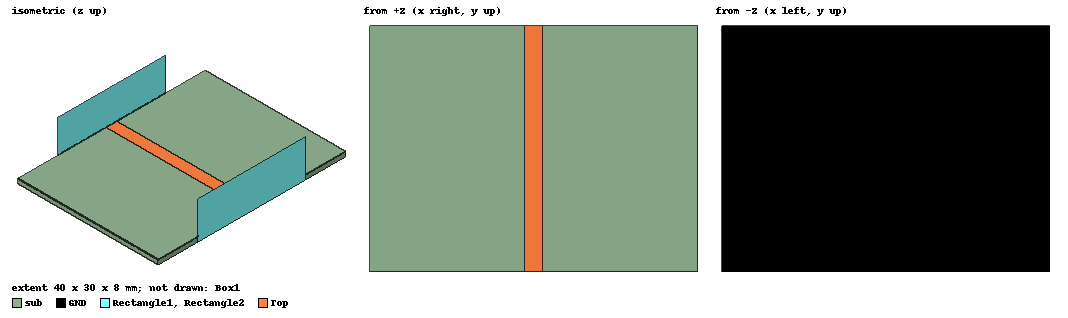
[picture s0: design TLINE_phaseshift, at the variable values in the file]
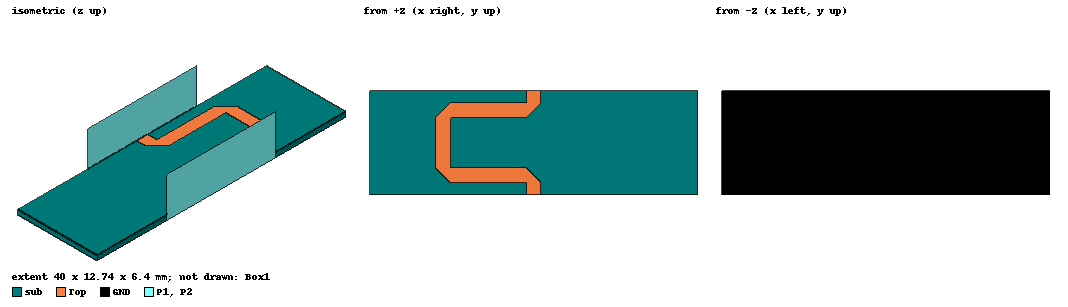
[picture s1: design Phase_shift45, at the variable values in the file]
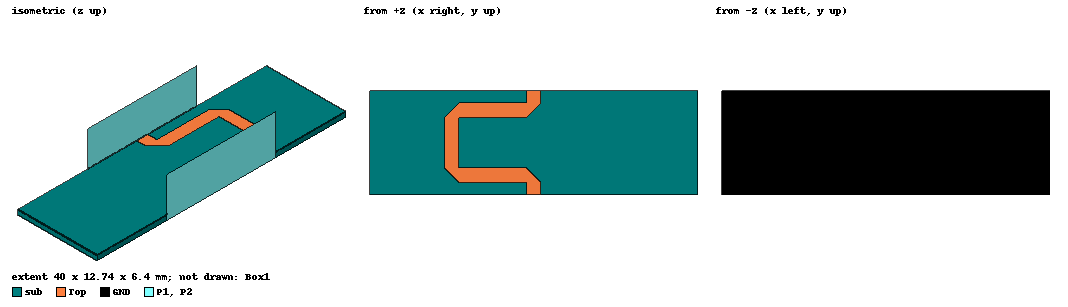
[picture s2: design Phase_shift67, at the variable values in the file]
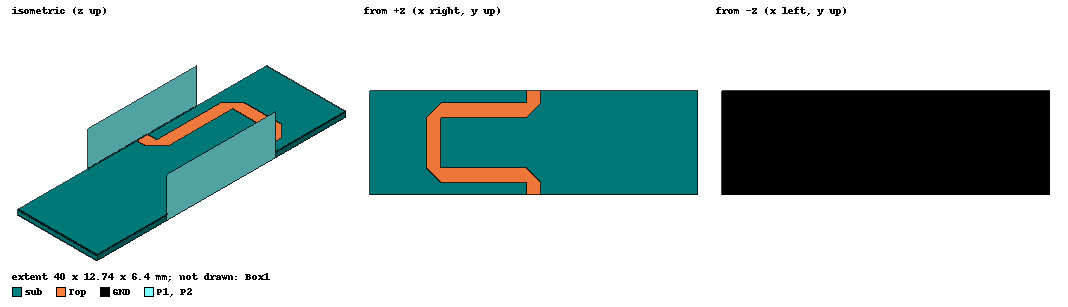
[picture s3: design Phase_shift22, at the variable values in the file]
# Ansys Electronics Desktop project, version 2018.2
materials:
  copper: permeability=0.999991 conductivity=58000000
  FR4_epoxy: permittivity=4.4 dielectric_loss_tangent=0.02
  Rogers RO4003 (tm): permittivity=3.55 dielectric_loss_tangent=0.0027
  vacuum: permittivity=1

design TLINE_phaseshift (HFSS, DrivenTerminal, model units mm)
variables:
  W = 40mm
  L = L_50
  H = 1mm
  W_50 = 2.3mm
  L_50 = 30mm
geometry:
  sub [Rogers RO4003 (tm)] = box(corner=(0mm, 0mm, 0mm), size=(W, L, H))
  GND [FR4_epoxy] = object_from(sub.face(-z))
  Top [copper] = rectangle(corner=(W/2-W_50/2, 0mm, H), x_size=W_50, y_size=L_50)
  Rectangle1 = rectangle(corner=(W/2-5*W_50, 0mm, 0mm), z_size=8*H, x_size=10*W_50)
  Rectangle2 = rectangle(corner=(W/2-5*W_50, L, 0mm), z_size=8*H, x_size=10*W_50)
  Box1 [vacuum] = box(corner=(-10mm, 0mm, -10mm), size=(20mm+W, L, 50mm))
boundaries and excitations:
  PerfE1: Perfect E Objects=GND
  Rad1: Radiation Objects=Box1
  PerfE2: Perfect E Objects=Top
  Top_T1: Terminal port=1 Edges=Top.edge(y at corner) TerminalResistance=50ohm
  Top_T2: Terminal port=2 Edges=Top.edge(y opposite corner) TerminalResistance=50ohm
  1: Wave Port Faces=Rectangle1.face NumModes=1
  2: Wave Port Faces=Rectangle2.face NumModes=1
  reference conductors: GND
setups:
  Setup1: HfssDriven Frequency=5GHz MaxDeltaS=0.02 MaximumPasses=10 MinimumPasses=1 MinimumConvergedPasses=1 PercentRefinement=30 BasisOrder=1 PortAccuracy=2
    sweep Sweep: 3GHz to 7GHz step 0.01GHz; Type=Fast SaveFields
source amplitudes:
  1:1: 1V 0deg
  2:1: 0V 0deg
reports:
  XY Plot 1: dB(St(Top_T1,Top_T1)), dB(St(Top_T2,Top_T1)) vs Freq on Setup1 : Sweep
  XY Plot 2: cang_deg(St(Top_T2,Top_T1)) vs Freq on Setup1 : Sweep; markers MX1 at x=5.0013559e+09

design Phase_shift45 (HFSS, DrivenTerminal, model units mm)
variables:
  H = 0.8mm
  b = 9.77mm
  Phase_W = 40mm
  Phase_L = 2*Phase_a+2*Phase_W_50+Phase_c
  Phase_W_50 = 1.7645mm
  Phase_a = 1.5mm
  Phase_b = 9.3mm
  Phase_c = 6.20642mm
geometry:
  sub [Rogers RO4003 (tm)] = box(corner=(0mm, 0mm, 0mm), size=(Phase_W, Phase_L, H))
  GND [FR4_epoxy] = object_from(sub.face(-z))
  Top [copper] = rectangle(corner=(Phase_W/2-Phase_W_50/2, 0mm, H), x_size=Phase_W_50, y_size=Phase_a)
  P1 = rectangle(corner=(Phase_W/2-5*Phase_W_50, 0mm, 0mm), z_size=8*H, x_size=10*Phase_W_50)
  P2 = rectangle(corner=(Phase_W/2-5*Phase_W_50, Phase_L, 0mm), z_size=8*H, x_size=10*Phase_W_50)
  Box1 [vacuum] = box(corner=(-10mm, 0mm, -10mm), size=(20mm+Phase_W, Phase_L, 50mm))
  TL2 = rectangle(corner=(Phase_W/2-Phase_W_50/2, Phase_a, H), x_size=-Phase_b, y_size=Phase_W_50)
  TL3 = rectangle(corner=(Phase_W/2-Phase_W_50/2-Phase_b, Phase_a+Phase_W_50, H), x_size=-Phase_W_50, y_size=Phase_c)
  TL4 = rectangle(corner=(Phase_W/2-Phase_W_50/2-Phase_b, Phase_a+Phase_W_50+Phase_c, H), x_size=Phase_b, y_size=Phase_W_50)
  TL5 = rectangle(corner=(Phase_W/2-Phase_W_50/2, Phase_a+2*Phase_W_50+Phase_c, H), x_size=Phase_W_50, y_size=Phase_a)
  Bend1 = polyline(z=H, xy: (Phase_W/2+Phase_W_50/2, Phase_a) (Phase_W/2-Phase_W_50/2, Phase_a+Phase_W_50) (Phase_W/2-Phase_W_50/2, Phase_a) (Phase_W/2+Phase_W_50/2, Phase_a), closed, covered)
  Bend2 = polyline(z=H, xy: (Phase_W/2-Phase_W_50/2-Phase_b, Phase_a) (Phase_W/2-1.5*Phase_W_50-Phase_b, Phase_a+Phase_W_50) (Phase_W/2-Phase_W_50/2-Phase_b, Phase_a+Phase_W_50) (Phase_W/2-Phase_W_50/2-Phase_b, Phase_a), closed, covered)
  Bend3 = polyline(z=H, xy: (Phase_W/2-1.5*Phase_W_50-Phase_b, Phase_a+Phase_W_50+Phase_c) (Phase_W/2-Phase_W_50/2-Phase_b, Phase_a+2*Phase_W_50+Phase_c) (Phase_W/2-Phase_W_50/2-Phase_b, Phase_a+Phase_W_50+Phase_c) (Phase_W/2-1.5*Phase_W_50-Phase_b, Phase_a+Phase_W_50+Phase_c), closed, covered)
  Bend4 = polyline(z=H, xy: (Phase_W/2-Phase_W_50/2, Phase_a+Phase_W_50+Phase_c) (Phase_W/2+Phase_W_50/2, Phase_a+2*Phase_W_50+Phase_c) (Phase_W/2-Phase_W_50/2, Phase_a+2*Phase_W_50+Phase_c) (Phase_W/2-Phase_W_50/2, Phase_a+Phase_W_50+Phase_c), closed, covered)
  Top.unite(TL5, TL4, TL3, TL2, Bend4, Bend3, Bend2, Bend1)
  Top.thicken(0.017mm)
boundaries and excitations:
  PerfE1: Perfect E Objects=GND
  Rad1: Radiation Objects=Box1
  1: Terminal port=P1 Faces=Top.face(at (20, 0, 0.8085)) TerminalResistance=50ohm
  2: Terminal port=P2 Faces=Top.face(at (20, 12.7354, 0.8085)) TerminalResistance=50ohm
  P1: Wave Port Faces=P1.face NumModes=1
  P2: Wave Port Faces=P2.face NumModes=1
  reference conductors: GND
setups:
  Setup1: HfssDriven Frequency=5GHz MaxDeltaS=0.02 MaximumPasses=10 MinimumPasses=1 MinimumConvergedPasses=1 PercentRefinement=30 BasisOrder=1 PortAccuracy=2
    sweep Sweep: 3GHz to 8GHz step 0.01GHz; Type=Fast SaveFields
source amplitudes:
  P1:1: 1V 0deg
  P2:1: 0V 0deg
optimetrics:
  ParametricSetup1: Parametric disabled Sim._Setups=[Setup1]
    sweep b: LIN 9.7mm 9.8mm 0.005mm
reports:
  S-Parameters: dB(St(1,1)), dB(St(2,1)) vs Freq on Setup1 : Sweep; markers MX1 at x=5.0033223e+09
  Phase Shifting: ang_deg(St(2,1)) vs Freq on Setup1 : Sweep; markers MX1 at x=5e+09

design Phase_shift67 (HFSS, DrivenTerminal, model units mm)
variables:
  H = 0.8mm
  b = 0mm
  Phase_W = 40mm
  Phase_L = 2*Phase_a+2*Phase_W_50+Phase_c
  Phase_W_50 = 1.7645mm
  Phase_a = 1.5mm
  Phase_b = 8.2109mm
  Phase_c = 6.20642mm
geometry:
  sub [Rogers RO4003 (tm)] = box(corner=(0mm, 0mm, 0mm), size=(Phase_W, Phase_L, H))
  GND [FR4_epoxy] = object_from(sub.face(-z))
  Top [copper] = rectangle(corner=(Phase_W/2-Phase_W_50/2, 0mm, H), x_size=Phase_W_50, y_size=Phase_a)
  P1 = rectangle(corner=(Phase_W/2-5*Phase_W_50, 0mm, 0mm), z_size=8*H, x_size=10*Phase_W_50)
  P2 = rectangle(corner=(Phase_W/2-5*Phase_W_50, Phase_L, 0mm), z_size=8*H, x_size=10*Phase_W_50)
  Box1 [vacuum] = box(corner=(-10mm, 0mm, -10mm), size=(20mm+Phase_W, Phase_L, 50mm))
  TL2 = rectangle(corner=(Phase_W/2-Phase_W_50/2, Phase_a, H), x_size=-Phase_b, y_size=Phase_W_50)
  TL3 = rectangle(corner=(Phase_W/2-Phase_W_50/2-Phase_b, Phase_a+Phase_W_50, H), x_size=-Phase_W_50, y_size=Phase_c)
  TL4 = rectangle(corner=(Phase_W/2-Phase_W_50/2-Phase_b, Phase_a+Phase_W_50+Phase_c, H), x_size=Phase_b, y_size=Phase_W_50)
  TL5 = rectangle(corner=(Phase_W/2-Phase_W_50/2, Phase_a+2*Phase_W_50+Phase_c, H), x_size=Phase_W_50, y_size=Phase_a)
  Bend1 = polyline(z=H, xy: (Phase_W/2+Phase_W_50/2, Phase_a) (Phase_W/2-Phase_W_50/2, Phase_a+Phase_W_50) (Phase_W/2-Phase_W_50/2, Phase_a) (Phase_W/2+Phase_W_50/2, Phase_a), closed, covered)
  Bend2 = polyline(z=H, xy: (Phase_W/2-Phase_W_50/2-Phase_b, Phase_a) (Phase_W/2-1.5*Phase_W_50-Phase_b, Phase_a+Phase_W_50) (Phase_W/2-Phase_W_50/2-Phase_b, Phase_a+Phase_W_50) (Phase_W/2-Phase_W_50/2-Phase_b, Phase_a), closed, covered)
  Bend3 = polyline(z=H, xy: (Phase_W/2-1.5*Phase_W_50-Phase_b, Phase_a+Phase_W_50+Phase_c) (Phase_W/2-Phase_W_50/2-Phase_b, Phase_a+2*Phase_W_50+Phase_c) (Phase_W/2-Phase_W_50/2-Phase_b, Phase_a+Phase_W_50+Phase_c) (Phase_W/2-1.5*Phase_W_50-Phase_b, Phase_a+Phase_W_50+Phase_c), closed, covered)
  Bend4 = polyline(z=H, xy: (Phase_W/2-Phase_W_50/2, Phase_a+Phase_W_50+Phase_c) (Phase_W/2+Phase_W_50/2, Phase_a+2*Phase_W_50+Phase_c) (Phase_W/2-Phase_W_50/2, Phase_a+2*Phase_W_50+Phase_c) (Phase_W/2-Phase_W_50/2, Phase_a+Phase_W_50+Phase_c), closed, covered)
  Top.unite(TL5, TL4, TL3, TL2, Bend4, Bend3, Bend2, Bend1)
  Top.thicken(0.017mm)
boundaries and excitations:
  PerfE1: Perfect E Objects=GND
  Rad1: Radiation Objects=Box1
  1: Terminal port=P1 Faces=Top.face(at (20, 0, 0.8085)) TerminalResistance=50ohm
  2: Terminal port=P2 Faces=Top.face(at (20, 12.7354, 0.8085)) TerminalResistance=50ohm
  P1: Wave Port Faces=P1.face NumModes=1
  P2: Wave Port Faces=P2.face NumModes=1
  reference conductors: GND
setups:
  Setup1: HfssDriven Frequency=5GHz MaxDeltaS=0.02 MaximumPasses=10 MinimumPasses=1 MinimumConvergedPasses=1 PercentRefinement=30 BasisOrder=1 PortAccuracy=2
    sweep Sweep: 3GHz to 8GHz step 0.01GHz; Type=Fast SaveFields
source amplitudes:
  P1:1: 1V 0deg
  P2:1: 0V 0deg
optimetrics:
  ParametricSetup1: Parametric disabled Sim._Setups=[Setup1]
    sweep b: LIN 9.7mm 9.8mm 0.005mm
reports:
  S-Parameters: dB(St(1,1)), dB(St(2,1)) vs Freq on Setup1 : Sweep; markers MX1 at x=5.0033223e+09
  Phase Shifting: ang_deg(St(2,1)) vs Freq on Setup1 : Sweep; markers MX1 at x=5e+09

design Phase_shift22 (HFSS, DrivenTerminal, model units mm)
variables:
  H = 0.8mm
  b = 9.77mm
  Phase_W = 40mm
  Phase_L = 2*Phase_a+2*Phase_W_50+Phase_c
  Phase_W_50 = 1.7645mm
  Phase_a = 1.5mm
  Phase_b = 10.401mm
  Phase_c = 6.20642mm
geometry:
  sub [Rogers RO4003 (tm)] = box(corner=(0mm, 0mm, 0mm), size=(Phase_W, Phase_L, H))
  GND [FR4_epoxy] = object_from(sub.face(-z))
  Top [copper] = rectangle(corner=(Phase_W/2-Phase_W_50/2, 0mm, H), x_size=Phase_W_50, y_size=Phase_a)
  P1 = rectangle(corner=(Phase_W/2-5*Phase_W_50, 0mm, 0mm), z_size=8*H, x_size=10*Phase_W_50)
  P2 = rectangle(corner=(Phase_W/2-5*Phase_W_50, Phase_L, 0mm), z_size=8*H, x_size=10*Phase_W_50)
  Box1 [vacuum] = box(corner=(-10mm, 0mm, -10mm), size=(20mm+Phase_W, Phase_L, 50mm))
  TL2 = rectangle(corner=(Phase_W/2-Phase_W_50/2, Phase_a, H), x_size=-Phase_b, y_size=Phase_W_50)
  TL3 = rectangle(corner=(Phase_W/2-Phase_W_50/2-Phase_b, Phase_a+Phase_W_50, H), x_size=-Phase_W_50, y_size=Phase_c)
  TL4 = rectangle(corner=(Phase_W/2-Phase_W_50/2-Phase_b, Phase_a+Phase_W_50+Phase_c, H), x_size=Phase_b, y_size=Phase_W_50)
  TL5 = rectangle(corner=(Phase_W/2-Phase_W_50/2, Phase_a+2*Phase_W_50+Phase_c, H), x_size=Phase_W_50, y_size=Phase_a)
  Bend1 = polyline(z=H, xy: (Phase_W/2+Phase_W_50/2, Phase_a) (Phase_W/2-Phase_W_50/2, Phase_a+Phase_W_50) (Phase_W/2-Phase_W_50/2, Phase_a) (Phase_W/2+Phase_W_50/2, Phase_a), closed, covered)
  Bend2 = polyline(z=H, xy: (Phase_W/2-Phase_W_50/2-Phase_b, Phase_a) (Phase_W/2-1.5*Phase_W_50-Phase_b, Phase_a+Phase_W_50) (Phase_W/2-Phase_W_50/2-Phase_b, Phase_a+Phase_W_50) (Phase_W/2-Phase_W_50/2-Phase_b, Phase_a), closed, covered)
  Bend3 = polyline(z=H, xy: (Phase_W/2-1.5*Phase_W_50-Phase_b, Phase_a+Phase_W_50+Phase_c) (Phase_W/2-Phase_W_50/2-Phase_b, Phase_a+2*Phase_W_50+Phase_c) (Phase_W/2-Phase_W_50/2-Phase_b, Phase_a+Phase_W_50+Phase_c) (Phase_W/2-1.5*Phase_W_50-Phase_b, Phase_a+Phase_W_50+Phase_c), closed, covered)
  Bend4 = polyline(z=H, xy: (Phase_W/2-Phase_W_50/2, Phase_a+Phase_W_50+Phase_c) (Phase_W/2+Phase_W_50/2, Phase_a+2*Phase_W_50+Phase_c) (Phase_W/2-Phase_W_50/2, Phase_a+2*Phase_W_50+Phase_c) (Phase_W/2-Phase_W_50/2, Phase_a+Phase_W_50+Phase_c), closed, covered)
  Top.unite(TL5, TL4, TL3, TL2, Bend4, Bend3, Bend2, Bend1)
  Top.thicken(0.017mm)
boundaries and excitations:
  PerfE1: Perfect E Objects=GND
  Rad1: Radiation Objects=Box1
  1: Terminal port=P1 Faces=Top.face(at (20, 0, 0.8085)) TerminalResistance=50ohm
  2: Terminal port=P2 Faces=Top.face(at (20, 12.7354, 0.8085)) TerminalResistance=50ohm
  P1: Wave Port Faces=P1.face NumModes=1
  P2: Wave Port Faces=P2.face NumModes=1
  reference conductors: GND
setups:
  Setup1: HfssDriven Frequency=5GHz MaxDeltaS=0.02 MaximumPasses=10 MinimumPasses=1 MinimumConvergedPasses=1 PercentRefinement=30 BasisOrder=1 PortAccuracy=2
    sweep Sweep: 3GHz to 8GHz step 0.01GHz; Type=Fast SaveFields
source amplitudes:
  P1:1: 1V 0deg
  P2:1: 0V 0deg
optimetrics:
  ParametricSetup1: Parametric disabled Sim._Setups=[Setup1]
    sweep b: LIN 9.7mm 9.8mm 0.005mm
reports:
  S-Parameters: dB(St(1,1)), dB(St(2,1)) vs Freq on Setup1 : Sweep; markers MX1 at x=5.0033223e+09
  Phase Shifting: ang_deg(St(2,1)) vs Freq on Setup1 : Sweep; markers MX1 at x=5e+09

design Circuit1 (Circuit)
options: SParamCircuitDef IntegrationMethod=FFT
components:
  A1 = MS_TRL(W=1.76772mm P=7.2mm)
  A3 = MS_TRL(W=1.76772mm P=8.95112mm)
  A5 = MS_TRL(W=1.76772mm P=7.2mm)
  A36 = MS_BENDC(W1=1.76772mm W2=1.76772mm)
  A37 = MS_BENDC(W1=1.76772mm W2=1.76772mm)
  A2 = MS_BENDC(W2=1.76772mm W1=1.76772mm)
  A4 = MS_BENDC(W1=1.76772mm W2=1.76772mm)
  port Port1 pnum=1 rz=50ohm iz=0ohm noisetemp=16.85 noisetemporig=16.85cel
  port Port2 pnum=2 rz=50ohm iz=0ohm noisetemp=16.85 noisetemporig=16.85cel
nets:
  net_11: A3.1, A36.0
  net_12: A5.1, A36.1
  net_13: A1.1, A37.0
  net_14: A3.0, A37.1
  net_15: A1.0, A2.0
  net_18: A5.0, A4.1
  Port1: A2.1
  Port2: A4.0
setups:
  LinearFrequency: LinearFrequencyData(false, 0.1, false, "", false) SweepDefinition{Variable=F Data="LIN 2GHz 8GHz 0.005GHz"}
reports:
  XY Plot 1: dB(S(Port1,Port1)), dB(S(Port2,Port1)) vs F on LinearFrequency : LinearFrequency; markers MX1 at x=5.0064702e+09
  XY Plot 2: ang_deg(S(Port2,Port1)) vs F on LinearFrequency : LinearFrequency; markers MX1 at x=5.0065455e+09
